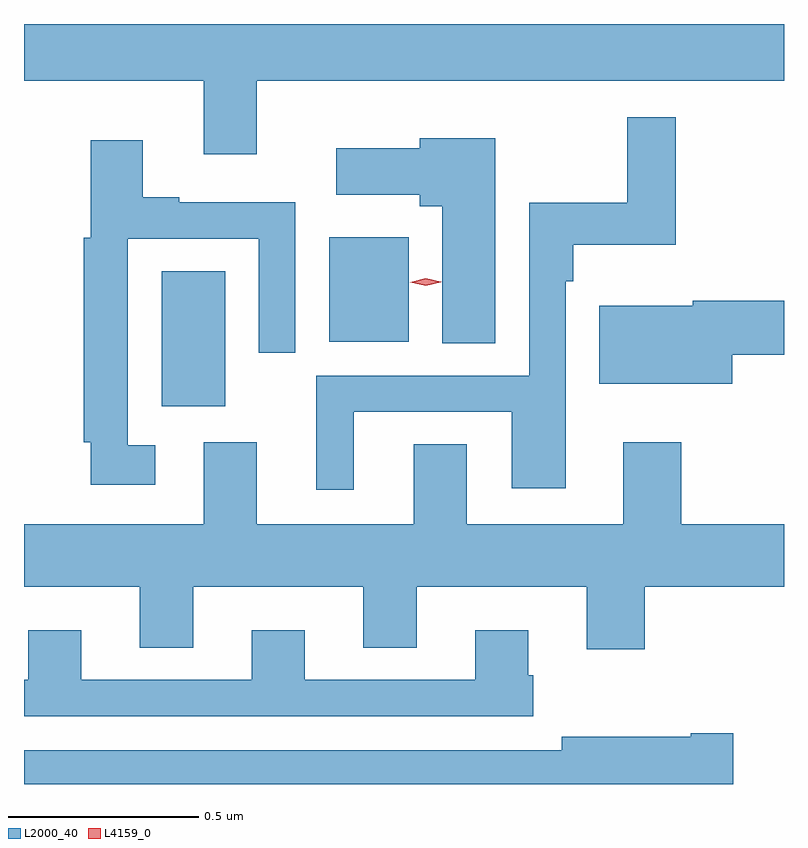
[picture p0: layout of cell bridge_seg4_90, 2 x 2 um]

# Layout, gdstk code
import gdstk
lib = gdstk.Library(unit=1e-6, precision=1e-09)
def R(c, l, rs):  # rectangles x0, y0, x1, y1
    for r in rs: c.add(gdstk.rectangle(r[:2], r[2:], *l))
def P(c, l, *ps):  # polygons
    for p in ps: c.add(gdstk.Polygon(p, *l))
L2000_40 = (2000, 40)
L4159_0 = (4159, 0)

bridge_seg4_90 = lib.new_cell('bridge_seg4_90')
R(bridge_seg4_90, L2000_40, [(465.242,782.643,465.409,782.999), (465.683,782.813,465.892,783.088)])
P(bridge_seg4_90, L2000_40, [(465.493,783.5),(466.88,783.5),(466.88,783.649),(464.88,783.649),(464.88,783.5),(465.353,783.5),(465.353,783.306),(465.493,783.306)],
  [(465.748,782.628),(466.163,782.628),(466.163,782.427),(466.305,782.427),(466.305,782.972),(466.325,782.972),(466.325,783.068),(466.595,783.068),(466.595,783.403),(466.467,783.403),(466.467,783.178),(466.209,783.178),(466.209,782.724),(465.649,782.724),(465.649,782.424),(465.748,782.424)],
  [(466.12,783.349),(465.921,783.349),(465.921,783.322),(465.702,783.322),(465.702,783.2),(465.921,783.2),(465.921,783.169),(465.98,783.169),(465.98,782.809),(466.12,782.809)],
  [(465.226,782.541),(465.153,782.541),(465.153,783.084),(465.498,783.084),(465.498,782.784),(465.594,782.784),(465.594,783.18),(465.289,783.18),(465.289,783.193),(465.193,783.193),(465.193,783.343),(465.056,783.343),(465.056,783.087),(465.037,783.087),(465.037,782.548),(465.056,782.548),(465.056,782.436),(465.226,782.436)],
  [(466.744,782.779),(466.88,782.779),(466.88,782.921),(466.64,782.921),(466.64,782.908),(466.394,782.908),(466.394,782.702),(466.744,782.702)],
  [(466.514,782.168),(466.88,782.168),(466.88,782.332),(466.61,782.332),(466.61,782.548),(466.457,782.548),(466.457,782.332),(466.045,782.332),(466.045,782.543),(465.905,782.543),(465.905,782.332),(465.493,782.332),(465.493,782.548),(465.353,782.548),(465.353,782.332),(464.88,782.332),(464.88,782.168),(465.185,782.168),(465.185,782.008),(465.325,782.008),(465.325,782.168),(465.773,782.168),(465.773,782.008),(465.913,782.008),(465.913,782.168),(466.361,782.168),(466.361,782.004),(466.514,782.004)],
  [(466.22,781.935),(466.207,781.935),(466.207,782.053),(466.067,782.053),(466.067,781.923),(465.619,781.923),(465.619,782.053),(465.479,782.053),(465.479,781.923),(465.031,781.923),(465.031,782.053),(464.891,782.053),(464.891,781.923),(464.88,781.923),(464.88,781.827),(466.22,781.827)],
  [(466.747,781.782),(466.634,781.782),(466.634,781.774),(466.295,781.774),(466.295,781.738),(464.88,781.738),(464.88,781.649),(466.747,781.649)])
P(bridge_seg4_90, L4159_0, [(465.937,782.96),(465.896,782.97),(465.896,782.97),(465.896,782.97),(465.937,782.98),(465.977,782.971),(465.978,782.971),(465.977,782.97)])

lib.write_gds('bridge_seg4_90.gds')
